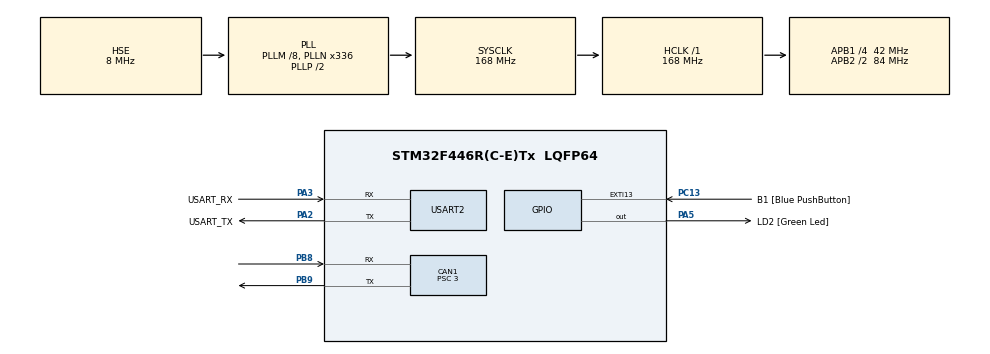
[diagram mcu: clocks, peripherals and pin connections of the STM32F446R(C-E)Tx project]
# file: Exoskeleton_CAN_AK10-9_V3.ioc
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CAN1.ABOM=ENABLE
CAN1.BS1=CAN_BS1_11TQ
CAN1.BS2=CAN_BS2_2TQ
CAN1.CalculateBaudRate=1000000
CAN1.CalculateTimeBit=1000
CAN1.CalculateTimeQuantum=71.42857142857143
CAN1.Mode=CAN_MODE_NORMAL
CAN1.NART=ENABLE
CAN1.Prescaler=3
Mcu.Family=STM32F4
Mcu.Name=STM32F446R(C-E)Tx
Mcu.Package=LQFP64
NVIC.CAN1_RX0_IRQn=true\:0\:0\:false\:false\:true\:true\:true\:true
NVIC.PriorityGroup=NVIC_PRIORITYGROUP_0
PA13.GPIO_Label=TMS
PA13.Mode=Serial_Wire
PA13.Signal=SYS_JTMS-SWDIO
PA14.GPIO_Label=TCK
PA14.Mode=Serial_Wire
PA14.Signal=SYS_JTCK-SWCLK
PA2.GPIO_Label=USART_TX
PA2.Mode=Asynchronous
PA2.Signal=USART2_TX
PA3.GPIO_Label=USART_RX
PA3.Mode=Asynchronous
PA3.Signal=USART2_RX
PA5.GPIO_Label=LD2 [Green Led]
PA5.Signal=GPIO_Output
PB3.GPIO_Label=SWO
PB3.Signal=SYS_JTDO-SWO
PB8.Mode=CAN_Activate
PB8.Signal=CAN1_RX
PB9.Mode=CAN_Activate
PB9.Signal=CAN1_TX
PC13.GPIO_Label=B1 [Blue PushButton]
PC13.GPIO_ModeDefaultEXTI=GPIO_MODE_IT_FALLING
PC13.Signal=GPXTI13
PC14-OSC32_IN.Mode=LSE-External-Oscillator
PC14-OSC32_IN.Signal=RCC_OSC32_IN
PC15-OSC32_OUT.Mode=LSE-External-Oscillator
PC15-OSC32_OUT.Signal=RCC_OSC32_OUT
PH0-OSC_IN.Mode=HSE-External-Clock-Source
PH0-OSC_IN.Signal=RCC_OSC_IN
PH1-OSC_OUT.Mode=HSE-External-Clock-Source
PH1-OSC_OUT.Signal=RCC_OSC_OUT
ProjectManager.HeapSize=0x200
ProjectManager.StackSize=0x400
ProjectManager.TargetToolchain=STM32CubeIDE
RCC.48MHZClocksFreq_Value=84000000
RCC.AHBFreq_Value=168000000
RCC.APB1CLKDivider=RCC_HCLK_DIV4
RCC.APB1Freq_Value=42000000
RCC.APB1TimFreq_Value=84000000
RCC.APB2CLKDivider=RCC_HCLK_DIV2
RCC.APB2Freq_Value=84000000
RCC.APB2TimFreq_Value=168000000
RCC.CortexFreq_Value=168000000
RCC.FLatency-AdvancedSettings=FLASH_LATENCY_5
RCC.HCLKFreq_Value=168000000
RCC.HSE_VALUE=8000000
RCC.HSI_VALUE=16000000
RCC.PLLM=8
RCC.PLLN=336
RCC.PLLSourceVirtual=RCC_PLLSOURCE_HSE
RCC.SYSCLKFreq_VALUE=168000000
RCC.SYSCLKSource=RCC_SYSCLKSOURCE_PLLCLK
RCC.USBFreq_Value=168000000
RCC.VCOOutputFreq_Value=336000000
USART2.VirtualMode=VM_ASYNC
board=NUCLEO-F446RE

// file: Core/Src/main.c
/* USER CODE BEGIN Header */
/**
  ******************************************************************************
  * @file           : main.c
  * @brief          : Main program body
  ******************************************************************************
  * @attention
  *
  * Copyright (c) 2026 STMicroelectronics.
  * All rights reserved.
  *
  * This software is licensed under terms that can be found in the LICENSE file
  * in the root directory of this software component.
  * If no LICENSE file comes with this software, it is provided AS-IS.
  *
  ******************************************************************************
  */
/* USER CODE END Header */
#include "main.h"

/* USER CODE BEGIN Includes */
#include <stdio.h>
#include <string.h>
#include "AK10_9_MIT.h"
#include "AK10_9_MIT_CAN_TX.h"
#include "AK10_9_MIT_CAN_HAL.h"
/* USER CODE END Includes */

/* USER CODE BEGIN PTD */
/* CubeMars servo-mode feedback (function ID 0x29; extended 29-bit ID). */
typedef struct
{
  int16_t position_x10;    /* signed, degrees x 10 */
  int16_t speed_x10_erpm;  /* signed, ERPM / 10 */
  int16_t current_x100;   /* signed, amperes x 100 */
  int8_t temperature_c;   /* feedback byte 6, signed C */
  uint8_t fault_code;     /* feedback byte 7 */
  uint32_t last_rx_ms;
  uint32_t received;
  uint32_t rejected;
  uint8_t seen;
} AK_Feedback;

typedef enum
{
  AK_LINK_WAITING = 0,
  AK_LINK_ONLINE,
  AK_LINK_NO_DATA,
  AK_LINK_TIMEOUT
} AK_LinkState;
/* USER CODE END PTD */

/* USER CODE BEGIN PD */
#define AK_CAN_MOTOR_ID             (104U)
#define AK_CAN_FEEDBACK_FUNCTION    (0x29U)
#define AK_CAN_FEEDBACK_ID          ((AK_CAN_FEEDBACK_FUNCTION << 8) | AK_CAN_MOTOR_ID) /* 0x2968 */
#define AK_CAN_EXPECTED_DLC        (8U)
#define AK_FEEDBACK_PERIOD_MS      (20U)    /* upper computer: 50 Hz */
#define AK_RX_TIMEOUT_MS           (200U)   /* 10 missed periodic frames */
#define AK_BOOT_GRACE_MS           (1000U)
#define AK_STATUS_PRINT_MS         (500U)   /* UART at 2 Hz; receive at 50 Hz */
/* USER CODE END PD */

CAN_HandleTypeDef hcan1;

UART_HandleTypeDef huart2;

/* USER CODE BEGIN PV */
/* Updated by CAN RX interrupt, copied in main() with IRQs briefly masked. */
static volatile AK_Feedback ak_rx = {0};
static uint32_t ak_start_ms = 0U;
/* Motor command TX controller. Intentionally never armed in this demo. */
static AK10_9_MIT_CAN_TX ak_tx_ctrl;
static volatile uint8_t ak_disable_ack_received = 0U;
/* This flag is a SOFTWARE REQUEST only, NOT a connected safety output. */
static volatile uint8_t ak_external_inhibit_requested = 0U;
/* USER CODE END PV */

void SystemClock_Config(void);
static void MX_GPIO_Init(void);
static void MX_USART2_UART_Init(void);
static void MX_CAN1_Init(void);
/* USER CODE BEGIN PFP */
static int16_t AK_ReadI16BE(const uint8_t *p);
static void AK_FormatFixed(char *dst, size_t dst_cap, int32_t value, uint32_t scale);
static void AK_UartLine(const char *message);
static AK_LinkState AK_GetLinkState(const AK_Feedback *fb, uint32_t now_ms);
static const char *AK_FaultName(uint8_t fault);
static void AK_RequestInhibit(void *user);
/* USER CODE END PFP */

/* USER CODE BEGIN 0 */
/* Decode signed 16-bit big-endian values without depending on signed cast overflow. */
static int16_t AK_ReadI16BE(const uint8_t *p)
{
  uint16_t raw = (uint16_t)(((uint16_t)p[0] << 8) | p[1]);
  int32_t signed_value = (raw & 0x8000U) ? ((int32_t)raw - 65536L) : (int32_t)raw;
  return (int16_t)signed_value;
}

/* Integer-only fixed point output: avoids requiring -u _printf_float. */
static void AK_FormatFixed(char *dst, size_t dst_cap, int32_t value, uint32_t scale)
{
  uint32_t abs_value = (value < 0) ? (uint32_t)(-value) : (uint32_t)value;
  if (scale == 10U)
  {
    (void)snprintf(dst, dst_cap, "%s%lu.%01lu",
                   (value < 0) ? "-" : "",
                   (unsigned long)(abs_value / 10U),
                   (unsigned long)(abs_value % 10U));
  }
  else
  {
    (void)snprintf(dst, dst_cap, "%s%lu.%02lu",
                   (value < 0) ? "-" : "",
                   (unsigned long)(abs_value / 100U),
                   (unsigned long)(abs_value % 100U));
  }
}

/* UART is used ONLY from the main loop; never from the CAN ISR. */
static void AK_UartLine(const char *message)
{
  size_t len = strlen(message);
  if (len != 0U && len < 65536U)
  {
    (void)HAL_UART_Transmit(&huart2, (uint8_t *)message, (uint16_t)len, 100U);
  }
}

static AK_LinkState AK_GetLinkState(const AK_Feedback *fb, uint32_t now_ms)
{
  if (fb->seen == 0U)
  {
    return ((uint32_t)(now_ms - ak_start_ms) < AK_BOOT_GRACE_MS)
           ? AK_LINK_WAITING : AK_LINK_NO_DATA;
  }
  return ((uint32_t)(now_ms - fb->last_rx_ms) <= AK_RX_TIMEOUT_MS)
         ? AK_LINK_ONLINE : AK_LINK_TIMEOUT;
}

static const char *AK_FaultName(uint8_t fault)
{
  switch (fault)
  {
    case 0U: return "NONE";
    case 1U: return "MOTOR_OVER_TEMP";
    case 2U: return "OVER_CURRENT";
    case 3U: return "OVER_VOLTAGE";
    case 4U: return "UNDER_VOLTAGE";
    case 5U: return "ENCODER_FAULT";
    case 6U: return "MOS_OVER_TEMP";
    case 7U: return "MOTOR_STALL";
    default: return "OTHER_CODE";
  }
}
/* This callback deliberately has no actual motor-power cutoff circuitry.
 * A separate safety-rated disable mechanism must be implemented and tested. */
static void AK_RequestInhibit(void *user)
{
  (void)user;
  ak_external_inhibit_requested = 1U;
}
/* USER CODE END 0 */

int main(void)
{

  /* MCU Configuration--------------------------------------------------------*/

  /* Reset of all peripherals, Initializes the Flash interface and the Systick. */
  HAL_Init();

  /* Configure the system clock */
  SystemClock_Config();

  /* Initialize all configured peripherals */
  MX_GPIO_Init();
  MX_USART2_UART_Init();
  MX_CAN1_Init();
  /* USER CODE BEGIN 2 */
  /* Exact bxCAN 32-bit filter: Extended DATA ID == 0x2968, to FIFO0.
     29-bit ID is left-shifted 3; IDE bit=2 must be 1, RTR bit=1 must be 0.
     The mask checks all 29 identifier bits plus IDE and RTR. */
  CAN_FilterTypeDef filter = {0};
  const uint32_t eid = AK_CAN_FEEDBACK_ID;
  filter.FilterBank = 0;
  filter.FilterMode = CAN_FILTERMODE_IDMASK;
  filter.FilterScale = CAN_FILTERSCALE_32BIT;
  filter.FilterIdHigh = (uint16_t)(eid >> 13);
  filter.FilterIdLow = (uint16_t)((eid << 3) | 0x0004U);  /* IDE=1, RTR=0 */
  filter.FilterMaskIdHigh = 0xFFFFU;
  filter.FilterMaskIdLow = 0xFFFEU;
  filter.FilterFIFOAssignment = CAN_RX_FIFO0;
  filter.FilterActivation = ENABLE;
  filter.SlaveStartFilterBank = 14;

  if (HAL_CAN_ConfigFilter(&hcan1, &filter) != HAL_OK)
  {
    AK_UartLine("ERROR: CAN filter configuration failed\r\n");
    Error_Handler();
  }
  if (hcan1.Init.Mode != CAN_MODE_NORMAL)
  {
    AK_UartLine("ERROR: CAN1 must be NORMAL, not LOOPBACK\r\n");
    Error_Handler();
  }
  if (HAL_CAN_Start(&hcan1) != HAL_OK)
  {
    AK_UartLine("ERROR: CAN1 start failed\r\n");
    Error_Handler();
  }
  if (HAL_CAN_ActivateNotification(&hcan1,
          CAN_IT_RX_FIFO0_MSG_PENDING) != HAL_OK)
  {
    AK_UartLine("ERROR: RX0 notification failed\r\n");
    Error_Handler();
  }
  AK10_9_TX_Init(&ak_tx_ctrl);
  ak_start_ms = HAL_GetTick();
  AK_UartLine("AK10-9 CAN FEEDBACK MONITOR START\r\n");
  AK_UartLine("CAN EXT=0x2968 rate=1Mbps feedback=50Hz timeout=200ms TX=DISABLED\r\n");
  /* Offline MIT 8-byte packet demonstration; NO HAL_CAN_AddTxMessage.
     This preview is produced once at boot, NOT transmitted to the motor. */
  AK10_9_MIT_Command dry_command = {0};
  AK10_9_MIT_Frame dry_frame = {0};
  if (AK10_9_MIT_Encode(AK10_9_MIT_DEFAULT_ID,
                        &dry_command, &dry_frame) == AK10_9_MIT_OK)
  {
    char preview[160];
    (void)snprintf(preview, sizeof(preview),
                   "MIT PREVIEW TX=DISABLED EID=0x%04lX DLC=%u "
                   "DATA=%02X %02X %02X %02X %02X %02X %02X %02X\r\n",
                   (unsigned long)dry_frame.extended_id,
                   (unsigned int)dry_frame.dlc,
                   (unsigned int)dry_frame.data[0],
                   (unsigned int)dry_frame.data[1],
                   (unsigned int)dry_frame.data[2],
                   (unsigned int)dry_frame.data[3],
                   (unsigned int)dry_frame.data[4],
                   (unsigned int)dry_frame.data[5],
                   (unsigned int)dry_frame.data[6],
                   (unsigned int)dry_frame.data[7]);
    AK_UartLine(preview);
  }
  else
  {
    AK_UartLine("MIT PREVIEW ERROR (no CAN transmitted)\r\n");
  }
/* USER CODE END 2 */

  /* Infinite loop */
  while (1)
  {

    /* USER CODE BEGIN 3 */
    AK_Feedback fb;
    uint32_t primask = __get_PRIMASK();
    __disable_irq();
    /* Short atomic copy: no printf, memory allocation or UART in IRQ. */
    fb.position_x10 = ak_rx.position_x10;
    fb.speed_x10_erpm = ak_rx.speed_x10_erpm;
    fb.current_x100 = ak_rx.current_x100;
    fb.temperature_c = ak_rx.temperature_c;
    fb.fault_code = ak_rx.fault_code;
    fb.last_rx_ms = ak_rx.last_rx_ms;
    fb.received = ak_rx.received;
    fb.rejected = ak_rx.rejected;
    fb.seen = ak_rx.seen;
    if (primask == 0U)
    {
      __enable_irq();
    }
    /* Read time AFTER snapshot: prevents a newer ISR timestamp appearing
       'in the future' relative to an earlier timestamp read in main(). */
    uint32_t now_ms = HAL_GetTick();

    AK_LinkState state = AK_GetLinkState(&fb, now_ms);

    /* Fail-closed, preview-only: physical_enable_ok is intentionally FALSE.
       No serial command, automatic ARM, or HAL CAN TX exists in this example.
       To use the API later, connect a real independent safety interlock and
       invoke AK10_9_TX_Arm() only on a deliberate operator action. */
    AK10_9_TX_Inputs tx_inputs = {0};
    tx_inputs.now_ms = now_ms;
    tx_inputs.feedback_last_ms = fb.last_rx_ms;
    tx_inputs.feedback_frames = fb.received;
    tx_inputs.drive_fault = fb.fault_code;
    tx_inputs.physical_enable_ok = 0U; /* FAIL-CLOSED, not a hardware signal */
    tx_inputs.emergency_stop = 0U;
    tx_inputs.can_error = (((CAN1->ESR & CAN_ESR_BOFF) != 0U) ||
                           (HAL_CAN_GetError(&hcan1) != HAL_CAN_ERROR_NONE)) ? 1U : 0U;
    AK10_9_TX_Step(&ak_tx_ctrl, &tx_inputs, AK10_9_TX_HAL_QueueFrame,
                   AK_RequestInhibit, &hcan1);
    if (ak_disable_ack_received != 0U)
    {
      uint32_t pm = __get_PRIMASK();
      __disable_irq();
      ak_disable_ack_received = 0U;
      if (pm == 0U) { __enable_irq(); }
      AK10_9_TX_OnDisableAck(&ak_tx_ctrl);
    }
    static int32_t previous_state = -1;
    static int32_t previous_fault = -1;
    static uint32_t last_report_ms = 0U;
    char line[220];

    if ((int32_t)state != previous_state)
    {
      const char *event = "WAITING";
      if (state == AK_LINK_ONLINE)
        event = (previous_state == (int32_t)AK_LINK_TIMEOUT ||
                 previous_state == (int32_t)AK_LINK_NO_DATA) ? "RECOVERED" : "ONLINE";
      else if (state == AK_LINK_NO_DATA)
        event = "NO_DATA";
      else if (state == AK_LINK_TIMEOUT)
        event = "TIMEOUT: FEEDBACK INVALID";
      (void)snprintf(line, sizeof(line), "EVENT CAN %s\r\n", event);
      AK_UartLine(line);
      previous_state = (int32_t)state;
    }

    if (state == AK_LINK_ONLINE)
    {
      if (previous_fault != (int32_t)fb.fault_code)
      {
        (void)snprintf(line, sizeof(line), "EVENT DRIVE_FAULT=%u %s\r\n",
                       (unsigned int)fb.fault_code, AK_FaultName(fb.fault_code));
        AK_UartLine(line);
        previous_fault = (int32_t)fb.fault_code;
      }
    }
    else
    {
      previous_fault = -1; /* never label stale fault state as live */
    }

    /* Print this controller status without taking CAN interrupts hostage. */
    static uint32_t last_txctrl_report = 0U;
    if ((uint32_t)(now_ms - last_txctrl_report) >= 2000U)
    {
      last_txctrl_report = now_ms;
      (void)snprintf(line, sizeof(line),
        "TXCTRL state=%s fault=%s HW_TX=%s accepted=%lu preview=%lu inhibit_req=%u\r\n",
        AK10_9_TX_StateName(ak_tx_ctrl.state),
        AK10_9_TX_FaultName(ak_tx_ctrl.fault),
        AK10_9_TX_ENABLE ? "ENABLED" : "DISABLED",
        (unsigned long)ak_tx_ctrl.accepted_tx_count,
        (unsigned long)ak_tx_ctrl.preview_count,
        (unsigned int)ak_external_inhibit_requested);
      AK_UartLine(line);
    }

    if ((uint32_t)(now_ms - last_report_ms) >= AK_STATUS_PRINT_MS)
    {
      last_report_ms = now_ms;
      uint32_t esr = CAN1->ESR;
      uint32_t rec = (esr >> 24) & 0xFFU;
      uint32_t tec = (esr >> 16) & 0xFFU;
      if (state == AK_LINK_ONLINE)
      {
        char pos[20];
        char current[20];
        AK_FormatFixed(pos, sizeof(pos), fb.position_x10, 10U);
        AK_FormatFixed(current, sizeof(current), fb.current_x100, 100U);
        (void)snprintf(line, sizeof(line),
                       "FB ONLINE rx=%lu age=%lums pos=%sdeg speed=%ldERPM "
                       "current=%sA temp=%dC fault=%u(%s) bad=%lu REC=%lu TEC=%lu\r\n",
                       (unsigned long)fb.received,
                       (unsigned long)(now_ms - fb.last_rx_ms),
                       pos, (long)fb.speed_x10_erpm * 10L, current,
                       (int)fb.temperature_c,
                       (unsigned int)fb.fault_code, AK_FaultName(fb.fault_code),
                       (unsigned long)fb.rejected,
                       (unsigned long)rec, (unsigned long)tec);
      }
      else
      {
        const char *state_name = (state == AK_LINK_WAITING) ? "WAITING" :
                                 (state == AK_LINK_NO_DATA) ? "NO_DATA" : "TIMEOUT";
        (void)snprintf(line, sizeof(line),
                       "FB %s rx=%lu age=%lums DATA=INVALID bad=%lu "
                       "REC=%lu TEC=%lu HALerr=0x%08lX\r\n",
                       state_name, (unsigned long)fb.received,
                       (unsigned long)(fb.seen ? (now_ms - fb.last_rx_ms) :
                                       (now_ms - ak_start_ms)),
                       (unsigned long)fb.rejected,
                       (unsigned long)rec, (unsigned long)tec,
                       (unsigned long)HAL_CAN_GetError(&hcan1));
      }
      AK_UartLine(line);
    }
    HAL_Delay(5U);
  }
/* USER CODE END 3 */
}

void SystemClock_Config(void)
{
  RCC_OscInitTypeDef RCC_OscInitStruct = {0};
  RCC_ClkInitTypeDef RCC_ClkInitStruct = {0};

  /** Configure the main internal regulator output voltage
  */
  __HAL_RCC_PWR_CLK_ENABLE();
  __HAL_PWR_VOLTAGESCALING_CONFIG(PWR_REGULATOR_VOLTAGE_SCALE1);

  /** Initializes the RCC Oscillators according to the specified parameters
  * in the RCC_OscInitTypeDef structure.
  */
  RCC_OscInitStruct.OscillatorType = RCC_OSCILLATORTYPE_HSE;
  RCC_OscInitStruct.HSEState = RCC_HSE_BYPASS;
  RCC_OscInitStruct.PLL.PLLState = RCC_PLL_ON;
  RCC_OscInitStruct.PLL.PLLSource = RCC_PLLSOURCE_HSE;
  RCC_OscInitStruct.PLL.PLLM = 8;
  RCC_OscInitStruct.PLL.PLLN = 336;
  RCC_OscInitStruct.PLL.PLLP = RCC_PLLP_DIV2;
  RCC_OscInitStruct.PLL.PLLQ = 2;
  RCC_OscInitStruct.PLL.PLLR = 2;
  if (HAL_RCC_OscConfig(&RCC_OscInitStruct) != HAL_OK)
  {
    Error_Handler();
  }

  /** Initializes the CPU, AHB and APB buses clocks
  */
  RCC_ClkInitStruct.ClockType = RCC_CLOCKTYPE_HCLK|RCC_CLOCKTYPE_SYSCLK
                              |RCC_CLOCKTYPE_PCLK1|RCC_CLOCKTYPE_PCLK2;
  RCC_ClkInitStruct.SYSCLKSource = RCC_SYSCLKSOURCE_PLLCLK;
  RCC_ClkInitStruct.AHBCLKDivider = RCC_SYSCLK_DIV1;
  RCC_ClkInitStruct.APB1CLKDivider = RCC_HCLK_DIV4;
  RCC_ClkInitStruct.APB2CLKDivider = RCC_HCLK_DIV2;

  if (HAL_RCC_ClockConfig(&RCC_ClkInitStruct, FLASH_LATENCY_5) != HAL_OK)
  {
    Error_Handler();
  }
}

static void MX_CAN1_Init(void)
{

  hcan1.Instance = CAN1;
  hcan1.Init.Prescaler = 3;
  hcan1.Init.Mode = CAN_MODE_NORMAL;
  hcan1.Init.SyncJumpWidth = CAN_SJW_1TQ;
  hcan1.Init.TimeSeg1 = CAN_BS1_11TQ;
  hcan1.Init.TimeSeg2 = CAN_BS2_2TQ;
  hcan1.Init.TimeTriggeredMode = DISABLE;
  hcan1.Init.AutoBusOff = ENABLE;
  hcan1.Init.AutoWakeUp = DISABLE;
  hcan1.Init.AutoRetransmission = ENABLE;
  hcan1.Init.ReceiveFifoLocked = DISABLE;
  hcan1.Init.TransmitFifoPriority = DISABLE;
  if (HAL_CAN_Init(&hcan1) != HAL_OK)
  {
    Error_Handler();
  }

}

static void MX_USART2_UART_Init(void)
{

  huart2.Instance = USART2;
  huart2.Init.BaudRate = 115200;
  huart2.Init.WordLength = UART_WORDLENGTH_8B;
  huart2.Init.StopBits = UART_STOPBITS_1;
  huart2.Init.Parity = UART_PARITY_NONE;
  huart2.Init.Mode = UART_MODE_TX_RX;
  huart2.Init.HwFlowCtl = UART_HWCONTROL_NONE;
  huart2.Init.OverSampling = UART_OVERSAMPLING_16;
  if (HAL_UART_Init(&huart2) != HAL_OK)
  {
    Error_Handler();
  }

}

static void MX_GPIO_Init(void)
{
  GPIO_InitTypeDef GPIO_InitStruct = {0};

  /* GPIO Ports Clock Enable */
  __HAL_RCC_GPIOC_CLK_ENABLE();
  __HAL_RCC_GPIOH_CLK_ENABLE();
  __HAL_RCC_GPIOA_CLK_ENABLE();
  __HAL_RCC_GPIOB_CLK_ENABLE();

  /*Configure GPIO pin Output Level */
  HAL_GPIO_WritePin(LD2_GPIO_Port, LD2_Pin, GPIO_PIN_RESET);

  /*Configure GPIO pin : B1_Pin */
  GPIO_InitStruct.Pin = B1_Pin;
  GPIO_InitStruct.Mode = GPIO_MODE_IT_FALLING;
  GPIO_InitStruct.Pull = GPIO_NOPULL;
  HAL_GPIO_Init(B1_GPIO_Port, &GPIO_InitStruct);

  /*Configure GPIO pin : LD2_Pin */
  GPIO_InitStruct.Pin = LD2_Pin;
  GPIO_InitStruct.Mode = GPIO_MODE_OUTPUT_PP;
  GPIO_InitStruct.Pull = GPIO_NOPULL;
  GPIO_InitStruct.Speed = GPIO_SPEED_FREQ_LOW;
  HAL_GPIO_Init(LD2_GPIO_Port, &GPIO_InitStruct);

}

/* USER CODE BEGIN 4 */
/* CAN interrupt: decode + timestamp, no blocking UART and no motor commands. */
void HAL_CAN_RxFifo0MsgPendingCallback(CAN_HandleTypeDef *hcan)
{
  if (hcan->Instance != CAN1)
    return;

  while (HAL_CAN_GetRxFifoFillLevel(hcan, CAN_RX_FIFO0) > 0U)
  {
    CAN_RxHeaderTypeDef header;
    uint8_t data[8] = {0};
    if (HAL_CAN_GetRxMessage(hcan, CAN_RX_FIFO0, &header, data) != HAL_OK)
    {
      ak_rx.rejected++;
      break;
    }
    if (header.IDE != CAN_ID_EXT || header.RTR != CAN_RTR_DATA ||
        header.ExtId != AK_CAN_FEEDBACK_ID || header.DLC != AK_CAN_EXPECTED_DLC)
    {
      ak_rx.rejected++;
      continue;
    }
    if (data[7] == 0x77U)
    {
      /* Newer V3.2 firmware: single disable confirmation, not drive fault 119.
         Host loop decides whether an actual stop was pending. */
      ak_disable_ack_received = 1U;
      continue;
    }
    ak_rx.position_x10 = AK_ReadI16BE(&data[0]);
    ak_rx.speed_x10_erpm = AK_ReadI16BE(&data[2]);
    ak_rx.current_x100 = AK_ReadI16BE(&data[4]);
    ak_rx.temperature_c = (int8_t)data[6];
    ak_rx.fault_code = data[7];
    ak_rx.last_rx_ms = HAL_GetTick();
    ak_rx.received++;
    ak_rx.seen = 1U;
  }
}
/* USER CODE END 4 */

void Error_Handler(void)
{
  __disable_irq();
  while (1)
  {
  }
}
